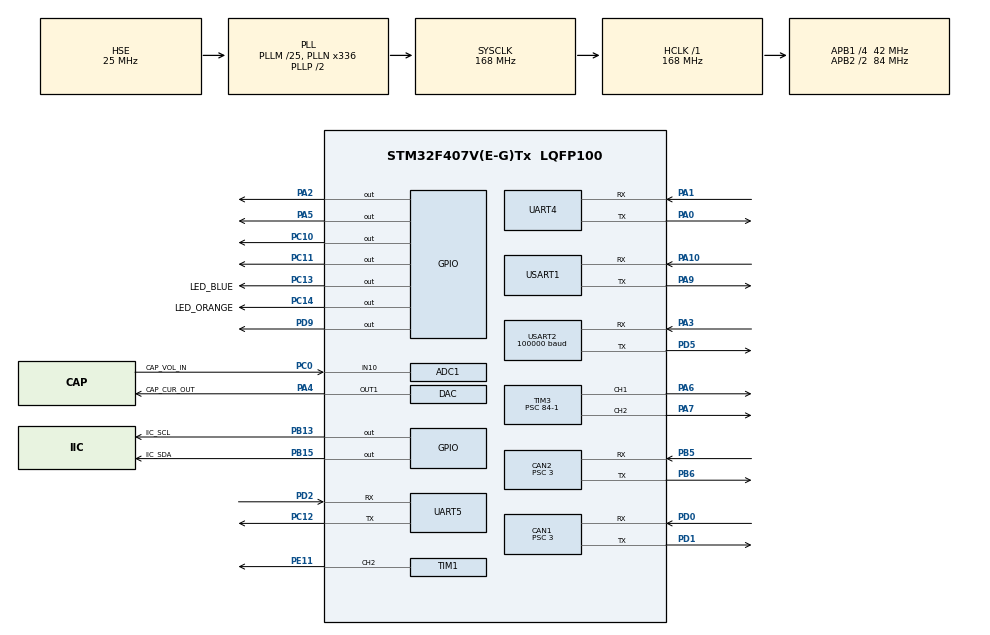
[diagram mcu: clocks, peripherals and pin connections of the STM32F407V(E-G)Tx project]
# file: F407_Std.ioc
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ADC1.Channel-0\#ChannelRegularConversion=ADC_CHANNEL_10
ADC1.NbrOfConversionFlag=1
ADC1.Rank-0\#ChannelRegularConversion=1
ADC1.SamplingTime-0\#ChannelRegularConversion=ADC_SAMPLETIME_3CYCLES
ADC1.master=1
CAN1.BS1=CAN_BS1_9TQ
CAN1.BS2=CAN_BS2_4TQ
CAN1.CalculateBaudRate=1000000
CAN1.CalculateTimeBit=1000
CAN1.CalculateTimeQuantum=71.42857142857143
CAN1.Prescaler=3
CAN1.TXFP=ENABLE
CAN2.BS1=CAN_BS1_9TQ
CAN2.BS2=CAN_BS2_4TQ
CAN2.CalculateBaudRate=1000000
CAN2.CalculateTimeBit=1000
CAN2.CalculateTimeQuantum=71.42857142857143
CAN2.Prescaler=3
CAN2.TXFP=ENABLE
DAC.DAC_OutputBuffer=DAC_OUTPUTBUFFER_DISABLE
Dma.Request0=UART4_RX
Dma.Request1=UART5_RX
Dma.Request2=UART5_TX
Dma.Request3=USART1_RX
Dma.Request4=USART2_RX
Dma.UART4_RX.0.Direction=DMA_PERIPH_TO_MEMORY
Dma.UART4_RX.0.FIFOMode=DMA_FIFOMODE_DISABLE
Dma.UART4_RX.0.Instance=DMA1_Stream2
Dma.UART4_RX.0.MemDataAlignment=DMA_MDATAALIGN_BYTE
Dma.UART4_RX.0.MemInc=DMA_MINC_ENABLE
Dma.UART4_RX.0.Mode=DMA_NORMAL
Dma.UART4_RX.0.PeriphDataAlignment=DMA_PDATAALIGN_BYTE
Dma.UART4_RX.0.PeriphInc=DMA_PINC_DISABLE
Dma.UART4_RX.0.Priority=DMA_PRIORITY_LOW
Dma.UART5_RX.1.Direction=DMA_PERIPH_TO_MEMORY
Dma.UART5_RX.1.FIFOMode=DMA_FIFOMODE_DISABLE
Dma.UART5_RX.1.Instance=DMA1_Stream0
Dma.UART5_RX.1.MemDataAlignment=DMA_MDATAALIGN_BYTE
Dma.UART5_RX.1.MemInc=DMA_MINC_ENABLE
Dma.UART5_RX.1.Mode=DMA_NORMAL
Dma.UART5_RX.1.PeriphDataAlignment=DMA_PDATAALIGN_BYTE
Dma.UART5_RX.1.PeriphInc=DMA_PINC_DISABLE
Dma.UART5_RX.1.Priority=DMA_PRIORITY_VERY_HIGH
Dma.UART5_TX.2.Direction=DMA_MEMORY_TO_PERIPH
Dma.UART5_TX.2.FIFOMode=DMA_FIFOMODE_DISABLE
Dma.UART5_TX.2.Instance=DMA1_Stream7
Dma.UART5_TX.2.MemDataAlignment=DMA_MDATAALIGN_BYTE
Dma.UART5_TX.2.MemInc=DMA_MINC_ENABLE
Dma.UART5_TX.2.Mode=DMA_NORMAL
Dma.UART5_TX.2.PeriphDataAlignment=DMA_PDATAALIGN_BYTE
Dma.UART5_TX.2.PeriphInc=DMA_PINC_DISABLE
Dma.UART5_TX.2.Priority=DMA_PRIORITY_VERY_HIGH
Dma.USART1_RX.3.Direction=DMA_PERIPH_TO_MEMORY
Dma.USART1_RX.3.FIFOMode=DMA_FIFOMODE_DISABLE
Dma.USART1_RX.3.Instance=DMA2_Stream2
Dma.USART1_RX.3.MemDataAlignment=DMA_MDATAALIGN_BYTE
Dma.USART1_RX.3.MemInc=DMA_MINC_ENABLE
Dma.USART1_RX.3.Mode=DMA_NORMAL
Dma.USART1_RX.3.PeriphDataAlignment=DMA_PDATAALIGN_BYTE
Dma.USART1_RX.3.PeriphInc=DMA_PINC_DISABLE
Dma.USART1_RX.3.Priority=DMA_PRIORITY_HIGH
Dma.USART2_RX.4.Direction=DMA_PERIPH_TO_MEMORY
Dma.USART2_RX.4.FIFOMode=DMA_FIFOMODE_DISABLE
Dma.USART2_RX.4.Instance=DMA1_Stream5
Dma.USART2_RX.4.MemDataAlignment=DMA_MDATAALIGN_BYTE
Dma.USART2_RX.4.MemInc=DMA_MINC_ENABLE
Dma.USART2_RX.4.Mode=DMA_NORMAL
Dma.USART2_RX.4.PeriphDataAlignment=DMA_PDATAALIGN_BYTE
Dma.USART2_RX.4.PeriphInc=DMA_PINC_DISABLE
Dma.USART2_RX.4.Priority=DMA_PRIORITY_VERY_HIGH
FREERTOS.Tasks01=defaultTask,0,128,StartDefaultTask,Default,NULL,Dynamic,NULL,NULL;MonitorTask,1,256,StartMonitorTask,As weak,NULL,Dynamic,NULL,NULL
Mcu.Family=STM32F4
Mcu.Name=STM32F407V(E-G)Tx
Mcu.Package=LQFP100
NVIC.CAN1_RX0_IRQn=true\:5\:0\:false\:false\:true\:true\:true\:true
NVIC.CAN2_RX0_IRQn=true\:5\:0\:false\:false\:true\:true\:true\:true
NVIC.DMA1_Stream0_IRQn=true\:5\:0\:false\:false\:true\:false\:false\:true
NVIC.DMA1_Stream2_IRQn=true\:5\:0\:false\:false\:true\:false\:false\:true
NVIC.DMA1_Stream5_IRQn=true\:5\:0\:false\:false\:true\:false\:false\:true
NVIC.DMA1_Stream7_IRQn=true\:5\:0\:false\:false\:true\:false\:false\:true
NVIC.DMA2_Stream2_IRQn=true\:5\:0\:false\:false\:true\:true\:false\:true
NVIC.PriorityGroup=NVIC_PRIORITYGROUP_4
NVIC.TIM2_IRQn=true\:15\:0\:false\:false\:true\:false\:false\:true
NVIC.TimeBase=TIM2_IRQn
NVIC.TimeBaseIP=TIM2
NVIC.USART1_IRQn=true\:5\:0\:false\:false\:true\:true\:true\:true
NVIC.USART2_IRQn=true\:5\:0\:false\:false\:true\:false\:true\:true
PA0-WKUP.GPIO_PuPd=GPIO_PULLUP
PA0-WKUP.Mode=Asynchronous
PA0-WKUP.Signal=UART4_TX
PA1.GPIO_PuPd=GPIO_PULLUP
PA1.Mode=Asynchronous
PA1.Signal=UART4_RX
PA10.Mode=Asynchronous
PA10.Signal=USART1_RX
PA13.Mode=Serial_Wire
PA13.Signal=SYS_JTMS-SWDIO
PA14.Mode=Serial_Wire
PA14.Signal=SYS_JTCK-SWCLK
PA2.Signal=GPIO_Output
PA3.Mode=Asynchronous
PA3.Signal=USART2_RX
PA4.GPIO_Label=CAP_CUR_OUT
PA4.Signal=COMP_DAC1_group
PA5.Signal=GPIO_Output
PA6.Signal=S_TIM3_CH1
PA7.Signal=S_TIM3_CH2
PA9.Mode=Asynchronous
PA9.Signal=USART1_TX
PB13.GPIO_Label=IIC_SCL
PB13.GPIO_Speed=GPIO_SPEED_FREQ_VERY_HIGH
PB13.PinState=GPIO_PIN_SET
PB13.Signal=GPIO_Output
PB15.GPIO_Label=IIC_SDA
PB15.GPIO_Speed=GPIO_SPEED_FREQ_VERY_HIGH
PB15.PinState=GPIO_PIN_SET
PB15.Signal=GPIO_Output
PB5.Mode=CAN_Activate
PB5.Signal=CAN2_RX
PB6.Mode=CAN_Activate
PB6.Signal=CAN2_TX
PC0.GPIO_Label=CAP_VOL_IN
PC0.Signal=ADCx_IN10
PC10.Signal=GPIO_Output
PC11.Signal=GPIO_Output
PC12.GPIO_PuPd=GPIO_PULLUP
PC12.Mode=Asynchronous
PC12.Signal=UART5_TX
PC13-ANTI_TAMP.GPIO_Label=LED_BLUE
PC13-ANTI_TAMP.PinState=GPIO_PIN_SET
PC13-ANTI_TAMP.Signal=GPIO_Output
PC14-OSC32_IN.GPIO_Label=LED_ORANGE
PC14-OSC32_IN.PinState=GPIO_PIN_SET
PC14-OSC32_IN.Signal=GPIO_Output
PD0.Mode=CAN_Activate
PD0.Signal=CAN1_RX
PD1.Mode=CAN_Activate
PD1.Signal=CAN1_TX
PD2.GPIO_PuPd=GPIO_PULLUP
PD2.Mode=Asynchronous
PD2.Signal=UART5_RX
PD5.Mode=Asynchronous
PD5.Signal=USART2_TX
PD9.Signal=GPIO_Output
PE11.Signal=S_TIM1_CH2
PH0-OSC_IN.Mode=HSE-External-Oscillator
PH0-OSC_IN.Signal=RCC_OSC_IN
PH1-OSC_OUT.Mode=HSE-External-Oscillator
PH1-OSC_OUT.Signal=RCC_OSC_OUT
ProjectManager.HeapSize=0x200
ProjectManager.StackSize=0x400
ProjectManager.TargetToolchain=MDK-ARM V5
RCC.48MHZClocksFreq_Value=84000000
RCC.AHBFreq_Value=168000000
RCC.APB1CLKDivider=RCC_HCLK_DIV4
RCC.APB1Freq_Value=42000000
RCC.APB1TimFreq_Value=84000000
RCC.APB2CLKDivider=RCC_HCLK_DIV2
RCC.APB2Freq_Value=84000000
RCC.APB2TimFreq_Value=168000000
RCC.CortexFreq_Value=168000000
RCC.HCLKFreq_Value=168000000
RCC.HSE_VALUE=25000000
RCC.HSI_VALUE=16000000
RCC.LSE_VALUE=32768
RCC.PLLM=25
RCC.PLLN=336
RCC.PLLSourceVirtual=RCC_PLLSOURCE_HSE
RCC.SYSCLKFreq_VALUE=168000000
RCC.SYSCLKSource=RCC_SYSCLKSOURCE_PLLCLK
RCC.VCOOutputFreq_Value=336000000
SH.ADCx_IN10.0=ADC1_IN10,IN10
SH.COMP_DAC1_group.0=DAC_OUT1,DAC_OUT1
SH.S_TIM1_CH2.0=TIM1_CH2,PWM Generation2 CH2
SH.S_TIM3_CH1.0=TIM3_CH1,PWM Generation1 CH1
SH.S_TIM3_CH2.0=TIM3_CH2,PWM Generation2 CH2
TIM1.Channel-PWM\ Generation2\ CH2=TIM_CHANNEL_2
TIM1.Period=1000-1
TIM1.Prescaler=3360-1
TIM3.Channel-PWM\ Generation1\ CH1=TIM_CHANNEL_1
TIM3.Channel-PWM\ Generation2\ CH2=TIM_CHANNEL_2
TIM3.Period=2500-1
TIM3.Prescaler=84-1
UART4.VirtualMode=Asynchronous
UART5.VirtualMode=Asynchronous
USART1.VirtualMode=VM_ASYNC
USART2.BaudRate=100000
USART2.VirtualMode=VM_ASYNC
VP_FREERTOS_VS_CMSIS_V1.Mode=CMSIS_V1
VP_SYS_VS_tim2.Mode=TIM2
VP_TIM1_VS_ClockSourceINT.Mode=Internal
VP_TIM3_VS_ClockSourceINT.Mode=Internal
board=custom

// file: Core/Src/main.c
/* USER CODE BEGIN Header */
/**
  ******************************************************************************
  * @file           : main.c
  * @brief          : Main program body
  ******************************************************************************
  * @attention
  *
  * Copyright (c) 2022 STMicroelectronics.
  * All rights reserved.
  *
  * This software is licensed under terms that can be found in the LICENSE file
  * in the root directory of this software component.
  * If no LICENSE file comes with this software, it is provided AS-IS.
  *
  ******************************************************************************
  */
/* USER CODE END Header */
#include "main.h"
#include "cmsis_os.h"
#include "adc.h"
#include "can.h"
#include "dac.h"
#include "dma.h"
#include "tim.h"
#include "usart.h"
#include "gpio.h"

/* USER CODE BEGIN Includes */
#include "imu_potocol.h"
#include "imu_sensor.h"
#include "bmi.h"
#include "motor.h"
#include "drv_uart.h"
#include "device.h"
#include "driver.h"
/* USER CODE END Includes */

void SystemClock_Config(void);
void MX_FREERTOS_Init(void);
/* USER CODE BEGIN PFP */
extern void imu_sensor_init(imu_sensor_t *imu_sen);

/* USER CODE END PFP */

int main(void)
{

  /* MCU Configuration--------------------------------------------------------*/

  /* Reset of all peripherals, Initializes the Flash interface and the Systick. */
			HAL_Init();

  /* Configure the system clock */
  SystemClock_Config();

  /* Initialize all configured peripherals */
  MX_GPIO_Init();
  MX_DMA_Init();
  MX_TIM3_Init();
  MX_USART2_UART_Init();
  MX_CAN1_Init();
  MX_CAN2_Init();
  MX_TIM1_Init();
  MX_ADC1_Init();
  MX_DAC_Init();
  MX_UART4_Init();
  MX_UART5_Init();
  MX_USART1_UART_Init();
  /* USER CODE BEGIN 2 */
  // �������ʼ��
  DRIVER_Init();
  // �豸���ʼ��
  DEV_Init();

  Motor_Init();
  //imu_sensor_init(&imu_sensor);
  /* USER CODE END 2 */

  /* Call init function for freertos objects (in freertos.c) */
  MX_FREERTOS_Init();
  /* Start scheduler */
  osKernelStart();

  /* We should never get here as control is now taken by the scheduler */
  /* Infinite loop */
  while (1)
  {

  }
}

void SystemClock_Config(void)
{
  RCC_OscInitTypeDef RCC_OscInitStruct = {0};
  RCC_ClkInitTypeDef RCC_ClkInitStruct = {0};

  /** Configure the main internal regulator output voltage
  */
  __HAL_RCC_PWR_CLK_ENABLE();
  __HAL_PWR_VOLTAGESCALING_CONFIG(PWR_REGULATOR_VOLTAGE_SCALE1);
  /** Initializes the RCC Oscillators according to the specified parameters
  * in the RCC_OscInitTypeDef structure.
  */
  RCC_OscInitStruct.OscillatorType = RCC_OSCILLATORTYPE_HSE;
  RCC_OscInitStruct.HSEState = RCC_HSE_ON;
  RCC_OscInitStruct.PLL.PLLState = RCC_PLL_ON;
  RCC_OscInitStruct.PLL.PLLSource = RCC_PLLSOURCE_HSE;
  RCC_OscInitStruct.PLL.PLLM = 25;
  RCC_OscInitStruct.PLL.PLLN = 336;
  RCC_OscInitStruct.PLL.PLLP = RCC_PLLP_DIV2;
  RCC_OscInitStruct.PLL.PLLQ = 4;
  if (HAL_RCC_OscConfig(&RCC_OscInitStruct) != HAL_OK)
  {
    Error_Handler();
  }
  /** Initializes the CPU, AHB and APB buses clocks
  */
  RCC_ClkInitStruct.ClockType = RCC_CLOCKTYPE_HCLK|RCC_CLOCKTYPE_SYSCLK
                              |RCC_CLOCKTYPE_PCLK1|RCC_CLOCKTYPE_PCLK2;
  RCC_ClkInitStruct.SYSCLKSource = RCC_SYSCLKSOURCE_PLLCLK;
  RCC_ClkInitStruct.AHBCLKDivider = RCC_SYSCLK_DIV1;
  RCC_ClkInitStruct.APB1CLKDivider = RCC_HCLK_DIV4;
  RCC_ClkInitStruct.APB2CLKDivider = RCC_HCLK_DIV2;

  if (HAL_RCC_ClockConfig(&RCC_ClkInitStruct, FLASH_LATENCY_5) != HAL_OK)
  {
    Error_Handler();
  }
}

void HAL_TIM_PeriodElapsedCallback(TIM_HandleTypeDef *htim)
{
  if (htim->Instance == TIM2) {
    HAL_IncTick();
  }
}

void Error_Handler(void)
{
  __disable_irq();
  while (1)
  {
  }
}

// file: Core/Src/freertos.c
/* USER CODE BEGIN Header */
/**
  ******************************************************************************
  * File Name          : freertos.c
  * Description        : Code for freertos applications
  ******************************************************************************
  * @attention
  *
  * Copyright (c) 2022 STMicroelectronics.
  * All rights reserved.
  *
  * This software is licensed under terms that can be found in the LICENSE file
  * in the root directory of this software component.
  * If no LICENSE file comes with this software, it is provided AS-IS.
  *
  ******************************************************************************
  */
/* USER CODE END Header */

#include "FreeRTOS.h"
#include "task.h"
#include "main.h"
#include "cmsis_os.h"

/* USER CODE BEGIN Includes */
#include "imu_sensor.h"
#include "imu_potocol.h"
#include "motor.h"
#include "drv_can.h"
#include "rp_can.h"
#include "Judge.h"
#include "rc_sensor.h"
/* USER CODE END Includes */

/* USER CODE BEGIN Variables */
//个人数据
//float watch_pitch, watch_roll, watch_yaw;
extern short gyrox, gyroy, gyroz;

//float lpfdata;
//GM6020_data_t GM6020_test;

/* USER CODE END Variables */
osThreadId defaultTaskHandle;
osThreadId MonitorTaskHandle;

/* USER CODE BEGIN FunctionPrototypes */
//extern void BMI_Get_RawData(short *ggx,short *ggy,short *ggz,short *aax,short *aay,short *aaz);
//extern CAN_TxHeaderTypeDef CAN1_TxHander;
extern imu_sensor_t imu_sensor;
/* USER CODE END FunctionPrototypes */

void StartDefaultTask(void const * argument);
void StartMonitorTask(void const * argument);

void MX_FREERTOS_Init(void); /* (MISRA C 2004 rule 8.1) */

/* GetIdleTaskMemory prototype (linked to static allocation support) */
void vApplicationGetIdleTaskMemory( StaticTask_t **ppxIdleTaskTCBBuffer, StackType_t **ppxIdleTaskStackBuffer, uint32_t *pulIdleTaskStackSize );

/* USER CODE BEGIN GET_IDLE_TASK_MEMORY */
static StaticTask_t xIdleTaskTCBBuffer;
static StackType_t xIdleStack[configMINIMAL_STACK_SIZE];

void vApplicationGetIdleTaskMemory( StaticTask_t **ppxIdleTaskTCBBuffer, StackType_t **ppxIdleTaskStackBuffer, uint32_t *pulIdleTaskStackSize )
{
  *ppxIdleTaskTCBBuffer = &xIdleTaskTCBBuffer;
  *ppxIdleTaskStackBuffer = &xIdleStack[0];
  *pulIdleTaskStackSize = configMINIMAL_STACK_SIZE;
  /* place for user code */
}
/* USER CODE END GET_IDLE_TASK_MEMORY */

void MX_FREERTOS_Init(void) {

  /* Create the thread(s) */
  /* definition and creation of defaultTask */
  osThreadDef(defaultTask, StartDefaultTask, osPriorityNormal, 0, 128);
  defaultTaskHandle = osThreadCreate(osThread(defaultTask), NULL);

  /* definition and creation of MonitorTask */
  osThreadDef(MonitorTask, StartMonitorTask, osPriorityAboveNormal, 0, 256);
  MonitorTaskHandle = osThreadCreate(osThread(MonitorTask), NULL);

}

void StartDefaultTask(void const * argument)
{
  /* USER CODE BEGIN StartDefaultTask */
  /* Infinite loop */
  for(;;)
  {
	  imu_sensor.update(&imu_sensor);
	  rc_sensor.heart_beat(&rc_sensor);
	  Mode_Judge();
	  osDelay(1);
  }
  /* USER CODE END StartDefaultTask */
}

__weak void StartMonitorTask(void const * argument)
{
  /* USER CODE BEGIN StartMonitorTask */
  /* Infinite loop */
  for(;;)
  {
	  Motor_Send();
	  //RP_Send();
	  osDelay(1);

  }
  /* USER CODE END StartMonitorTask */
}
